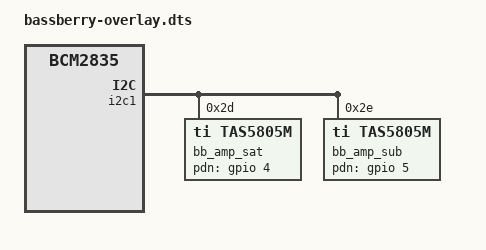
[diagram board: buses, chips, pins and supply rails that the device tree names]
// Bassberry 2.1 - device tree overlay (loaded automatically from the HAT+ EEPROM: dt_blob "bassberry")
//
// Build:   dtc -@ -I dts -O dtb -o bassberry.dtbo bassberry-overlay.dts
// Install: sudo cp bassberry.dtbo /boot/firmware/overlays/
//
// Hardware (hardware/bassberry, sheet "audio"):
//   U201 TAS5805M  stereo BTL (satellites)  I2C1 0x2D (ADR 15k to DVDD), PDN = GPIO4 (pin 7)
//   U202 TAS5805M  mono PBTL  (sub)         I2C1 0x2E (ADR 47k to DVDD), PDN = GPIO5 (pin 29)
//   I2S: Pi is clock master, BCLK GPIO18 (pin 12), LRCLK GPIO19 (pin 35), DOUT GPIO21 (pin 40)
//   Both amps receive the same stereo stream; U202's DSP sums L+R and low-passes (crossover in the DSP profile).
//   Supervisor MCU (CH32V003) is planned as an I2C slave at 0x42 on the same bus (power latch, buttons, encoder).
//
// STATUS: draft, not yet tested on hardware. The mainline tas5805m driver loads a DSP
// register file /lib/firmware/tas5805m_dsp_<ti,dsp-config-name>.bin (see software/dsp/, to come).

/dts-v1/;
/plugin/;

/ {
	compatible = "brcm,bcm2835";

	fragment@0 {
		target = <&i2s_clk_producer>;
		__overlay__ {
			status = "okay";
		};
	};

	fragment@1 {
		target = <&i2c1>;
		__overlay__ {
			#address-cells = <1>;
			#size-cells = <0>;
			status = "okay";

			bb_amp_sat: tas5805m@2d {
				#sound-dai-cells = <0>;
				compatible = "ti,tas5805m";
				reg = <0x2d>;
				pdn-gpios = <&gpio 4 0>;
				ti,dsp-config-name = "bassberry_sat";
				sound-name-prefix = "Sat";
				status = "okay";
			};

			bb_amp_sub: tas5805m@2e {
				#sound-dai-cells = <0>;
				compatible = "ti,tas5805m";
				reg = <0x2e>;
				pdn-gpios = <&gpio 5 0>;
				ti,dsp-config-name = "bassberry_sub";
				sound-name-prefix = "Sub";
				status = "okay";
			};
		};
	};

	fragment@2 {
		target-path = "/";
		__overlay__ {
			bb_sound: sound {
				compatible = "simple-audio-card";
				simple-audio-card,name = "Bassberry";
				simple-audio-card,format = "i2s";
				simple-audio-card,bitclock-master = <&bb_cpu>;
				simple-audio-card,frame-master = <&bb_cpu>;
				status = "okay";

				bb_cpu: simple-audio-card,cpu {
					sound-dai = <&i2s_clk_producer>;
				};
				simple-audio-card,codec {
					sound-dai = <&bb_amp_sat>, <&bb_amp_sub>;
				};
			};
		};
	};
};
